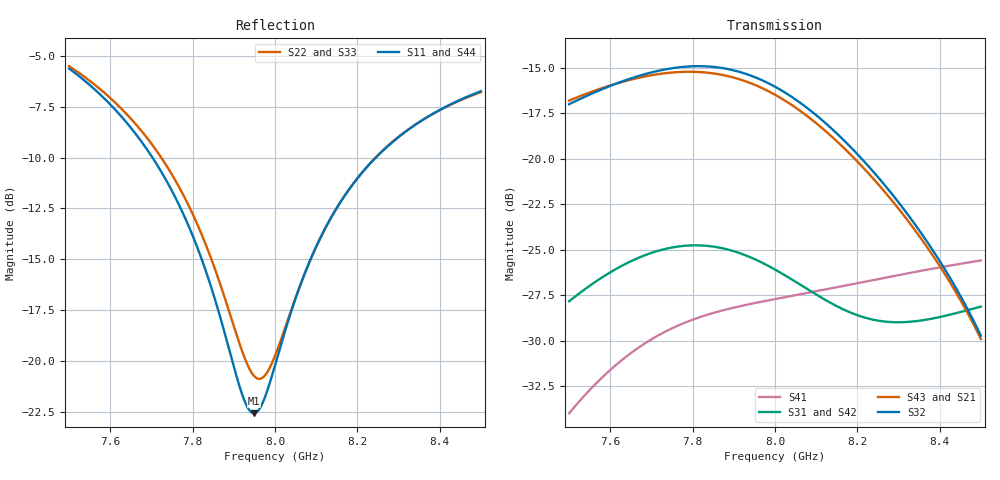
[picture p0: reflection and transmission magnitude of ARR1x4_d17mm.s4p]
! Touchstone file exported from HFSS 2025.1.0
!  File:  C:/Users/user/Documents/Ansoft/TFG_UWB-MIMO-Array.aedt
!  Generated:  05:34:57 PM Nov 20, 2026
!  Design:  ARR1x4_P01_MS2_dparam
!  Project:  TFG_UWB-MIMO-Array
!  Setup:  Setup_ch9
!  Solution:  Sweep_7p5_8p5
! Variables:
!  arr_d = 17mm
!  board_m = 13mm
!  board_x = 77mm
!  board_y = 26mm
!  cu_t = 0.035mm
!  line_w = 3.92mm
!  pad_xy = 22mm
!  pad_zn = 25mm
!  pad_zp = 33mm
!  patch_L = 7.322mm
!  patch_W = 11.421266mm
!  sub_h = 2.07mm
!  tr_l = 7.1mm
!  tr_w = 0.8mm
# GHz S MA R 50.000000
! Terminal data exported
! Port[1] = P1
! Port[2] = P2
! Port[3] = P3
! Port[4] = P4
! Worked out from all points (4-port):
!   1001 points, 7.5 GHz to 8.5 GHz, reference 50 ohm
!   strongest paths, dB at 7.5 GHz, 7.75 GHz, 8 GHz, 8.25 GHz, 8.5 GHz:
!     S32: -17.0, -15.0, -16.0, -21.0, -29.7
!     S43: -16.8, -15.3, -16.5, -21.4, -29.9
!     S21: -16.8, -15.3, -16.5, -21.4, -30.0
!     S31: -27.8, -24.9, -26.1, -28.9, -28.1
!     S42: -27.8, -24.9, -26.1, -28.9, -28.1
!     S41: -34.0, -29.3, -27.7, -26.6, -25.6
!   lowest |S11| = -22.6 dB at 7.949 GHz (marker M1), VSWR 1.16, Z = 57.4 + j3.06 ohm
!   |S11| at or under -10 dB: 7.702 GHz to 8.245 GHz (542.5 MHz wide, 6.8 % of centre)
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7.5  0.5238 157.9  0.1447 -31.6  0.04062 -170.5  0.02 16.0
     0.1447 -31.6  0.5309 160.5  0.1413 -28.2  0.0406 -170.7
     0.04062 -170.5  0.1413 -28.2  0.5349 160.6  0.1446 -31.2
     0.02 16.0  0.0406 -170.7  0.1446 -31.2  0.5214 158.1
7.745  0.2673 121.7  0.1723 -80.0  0.05694 119.2  0.03403 -72.2
       0.1723 -80.0  0.2926 124.3  0.177 -76.1  0.05688 118.9
       0.05694 119.2  0.177 -76.1  0.299 124.8  0.1725 -79.7
       0.03403 -72.2  0.05688 118.9  0.1725 -79.7  0.2636 121.8
7.949  0.07422 20.9  0.1598 -126.6  0.05312 45.5  0.04012 -160.2
       0.1598 -126.6  0.09177 34.2  0.168 -123.8  0.05301 45.2
       0.05312 45.5  0.168 -123.8  0.09334 38.9  0.16 -126.2
       0.04012 -160.2  0.05301 45.2  0.16 -126.2  0.07362 17.9
7.992  0.09137 -20.5  0.1515 -136.5  0.05023 28.4  0.04102 -179.2
       0.1515 -136.5  0.0983 -6.0  0.1596 -134.0  0.05012 28.1
       0.05023 28.4  0.1596 -134.0  0.09529 -1.8  0.1517 -136.2
       0.04102 -179.2  0.05012 28.1  0.1517 -136.2  0.09323 -22.6
8.077  0.1687 -59.9  0.1312 -155.5  0.04398 -6.9  0.04279 144.4
       0.1312 -155.5  0.1684 -52.3  0.1383 -153.4  0.0439 -7.2
       0.04398 -6.9  0.1383 -153.4  0.162 -51.0  0.1314 -155.2
       0.04279 144.4  0.0439 -7.2  0.1314 -155.2  0.1718 -60.4
8.172  0.2572 -80.9  0.1056 -175.4  0.03831 -47.8  0.0449 107.1
       0.1056 -175.4  0.2574 -76.7  0.1111 -173.5  0.03827 -48.1
       0.03831 -47.8  0.1111 -173.5  0.2507 -76.3  0.1059 -175.1
       0.0449 107.1  0.03827 -48.1  0.1059 -175.1  0.2603 -81.0
8.5  0.4607 -121.3  0.03166 127.5  0.03927 -167.4  0.05258 8.9
     0.03166 127.5  0.4583 -119.9  0.03267 133.1  0.03917 -167.3
     0.03927 -167.4  0.03267 133.1  0.4529 -120.0  0.03201 127.5
     0.05258 8.9  0.03917 -167.3  0.03201 127.5  0.462 -121.1
